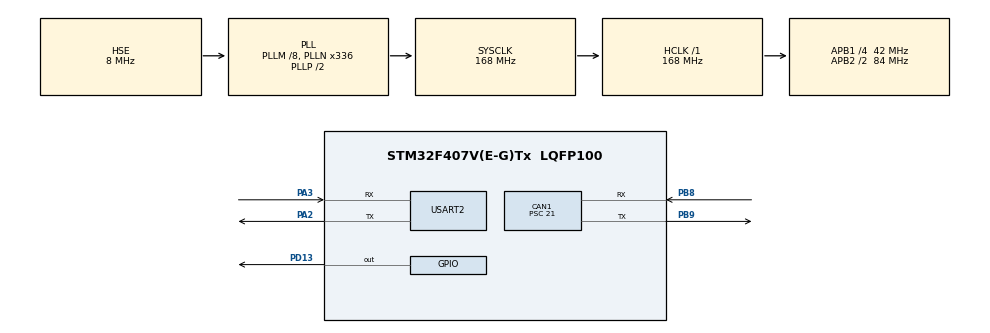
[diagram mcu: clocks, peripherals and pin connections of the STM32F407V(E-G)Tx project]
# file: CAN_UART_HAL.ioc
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CAN1.BS1=CAN_BS1_12TQ
CAN1.BS2=CAN_BS2_4TQ
CAN1.CalculateBaudRate=117647
CAN1.CalculateTimeBit=8500
CAN1.CalculateTimeQuantum=500.0
CAN1.Prescaler=21
Mcu.Family=STM32F4
Mcu.Name=STM32F407V(E-G)Tx
Mcu.Package=LQFP100
NVIC.CAN1_RX0_IRQn=true\:0\:2\:false\:false\:true\:true\:true
NVIC.PriorityGroup=NVIC_PRIORITYGROUP_0
NVIC.USART2_IRQn=true\:0\:0\:false\:false\:true\:true\:true
PA2.Mode=Asynchronous
PA2.Signal=USART2_TX
PA3.Mode=Asynchronous
PA3.Signal=USART2_RX
PB8.Mode=CAN_Activate
PB8.Signal=CAN1_RX
PB9.Mode=CAN_Activate
PB9.Signal=CAN1_TX
PD13.Signal=GPIO_Output
PH0-OSC_IN.Mode=HSE-External-Oscillator
PH0-OSC_IN.Signal=RCC_OSC_IN
PH1-OSC_OUT.Mode=HSE-External-Oscillator
PH1-OSC_OUT.Signal=RCC_OSC_OUT
ProjectManager.HeapSize=0x200
ProjectManager.StackSize=0x400
ProjectManager.TargetToolchain=MDK-ARM V5
RCC.48MHZClocksFreq_Value=48000000
RCC.AHBFreq_Value=168000000
RCC.APB1CLKDivider=RCC_HCLK_DIV4
RCC.APB1Freq_Value=42000000
RCC.APB1TimFreq_Value=84000000
RCC.APB2CLKDivider=RCC_HCLK_DIV2
RCC.APB2Freq_Value=84000000
RCC.APB2TimFreq_Value=168000000
RCC.CortexFreq_Value=168000000
RCC.HCLKFreq_Value=168000000
RCC.HSE_VALUE=8000000
RCC.HSI_VALUE=16000000
RCC.LSE_VALUE=32768
RCC.PLLM=8
RCC.PLLN=336
RCC.PLLQ=7
RCC.PLLSourceVirtual=RCC_PLLSOURCE_HSE
RCC.SYSCLKFreq_VALUE=168000000
RCC.SYSCLKSource=RCC_SYSCLKSOURCE_PLLCLK
RCC.VCOOutputFreq_Value=336000000
USART2.VirtualMode=VM_ASYNC
board=STM32F407G-DISC1

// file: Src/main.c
/* USER CODE BEGIN Header */
/**
  ******************************************************************************
  * @file           : main.c
  * @brief          : Main program body
  ******************************************************************************
  * @attention
  *
  * <h2><center>&copy; Copyright (c) 2021 STMicroelectronics.
  * All rights reserved.</center></h2>
  *
  * This software component is licensed by ST under BSD 3-Clause license,
  * the "License"; You may not use this file except in compliance with the
  * License. You may obtain a copy of the License at:
  *                        opensource.org/licenses/BSD-3-Clause
  *
  ******************************************************************************
  */
/* USER CODE END Header */
#include "main.h"

/* USER CODE BEGIN PD */
CAN_HandleTypeDef hcan1;
/* USER CODE END PD */

CAN_HandleTypeDef hcan1;

UART_HandleTypeDef huart2;

/* USER CODE BEGIN PV */
CAN_HandleTypeDef hcan1;
CAN_TxHeaderTypeDef TxHeader; //declare a specific header for message transmitions
CAN_RxHeaderTypeDef RxHeader; //declare header for message reception
uint32_t TxMailbox;

/*uint8_t TxData[5];
uint8_t RxData[5];*/

uint8_t TxData[5];
uint8_t RxData[5];

CAN_FilterTypeDef sFilterConfig; //declare CAN filter structure
/* USER CODE END PV */

void SystemClock_Config(void);
static void MX_GPIO_Init(void);
static void MX_CAN1_Init(void);
static void MX_USART2_UART_Init(void);

int main(void)
{

  /* MCU Configuration--------------------------------------------------------*/

  /* Reset of all peripherals, Initializes the Flash interface and the Systick. */
  HAL_Init();

  /* Configure the system clock */
  SystemClock_Config();

  /* Initialize all configured peripherals */
  MX_GPIO_Init();
  MX_CAN1_Init();
  MX_USART2_UART_Init();
  /* USER CODE BEGIN 2 */
	HAL_UART_Receive_IT (&huart2, RxData, 5);

	TxHeader.DLC=5; //give message size of 1 byte
	TxHeader.IDE=CAN_ID_STD; //set identifier to standard
	TxHeader.RTR=CAN_RTR_DATA; //set data type to remote transmission request?
	TxHeader.StdId=0x245; //define a standard identifier, used for message identification by filters (switch this for the other microcontroller)

	//filter one (stack light blink)
	sFilterConfig.FilterFIFOAssignment=CAN_FILTER_FIFO0; //set fifo assignment
	sFilterConfig.FilterIdHigh=0x244<<5; //the ID that the filter looks for (switch this for the other microcontroller)
	sFilterConfig.FilterIdLow=0;
	sFilterConfig.FilterMaskIdHigh=0;
	sFilterConfig.FilterMaskIdLow=0;
	sFilterConfig.FilterScale=CAN_FILTERSCALE_32BIT; //set filter scale
	sFilterConfig.FilterActivation=ENABLE;

	HAL_CAN_ConfigFilter(&hcan1, &sFilterConfig); //configure CAN filter

	HAL_CAN_Start(&hcan1); //start CAN
	HAL_CAN_ActivateNotification(&hcan1, CAN_IT_RX_FIFO0_MSG_PENDING); //enable interrupts
  /* USER CODE END 2 */

  /* Infinite loop */
  while (1)
  {

  }
}

void SystemClock_Config(void)
{
  RCC_OscInitTypeDef RCC_OscInitStruct = {0};
  RCC_ClkInitTypeDef RCC_ClkInitStruct = {0};

  /** Configure the main internal regulator output voltage
  */
  __HAL_RCC_PWR_CLK_ENABLE();
  __HAL_PWR_VOLTAGESCALING_CONFIG(PWR_REGULATOR_VOLTAGE_SCALE1);
  /** Initializes the RCC Oscillators according to the specified parameters
  * in the RCC_OscInitTypeDef structure.
  */
  RCC_OscInitStruct.OscillatorType = RCC_OSCILLATORTYPE_HSE;
  RCC_OscInitStruct.HSEState = RCC_HSE_ON;
  RCC_OscInitStruct.PLL.PLLState = RCC_PLL_ON;
  RCC_OscInitStruct.PLL.PLLSource = RCC_PLLSOURCE_HSE;
  RCC_OscInitStruct.PLL.PLLM = 8;
  RCC_OscInitStruct.PLL.PLLN = 336;
  RCC_OscInitStruct.PLL.PLLP = RCC_PLLP_DIV2;
  RCC_OscInitStruct.PLL.PLLQ = 7;
  if (HAL_RCC_OscConfig(&RCC_OscInitStruct) != HAL_OK)
  {
    Error_Handler();
  }
  /** Initializes the CPU, AHB and APB buses clocks
  */
  RCC_ClkInitStruct.ClockType = RCC_CLOCKTYPE_HCLK|RCC_CLOCKTYPE_SYSCLK
                              |RCC_CLOCKTYPE_PCLK1|RCC_CLOCKTYPE_PCLK2;
  RCC_ClkInitStruct.SYSCLKSource = RCC_SYSCLKSOURCE_PLLCLK;
  RCC_ClkInitStruct.AHBCLKDivider = RCC_SYSCLK_DIV1;
  RCC_ClkInitStruct.APB1CLKDivider = RCC_HCLK_DIV4;
  RCC_ClkInitStruct.APB2CLKDivider = RCC_HCLK_DIV2;

  if (HAL_RCC_ClockConfig(&RCC_ClkInitStruct, FLASH_LATENCY_5) != HAL_OK)
  {
    Error_Handler();
  }
}

static void MX_CAN1_Init(void)
{

  hcan1.Instance = CAN1;
  hcan1.Init.Prescaler = 21;
  hcan1.Init.Mode = CAN_MODE_NORMAL;
  hcan1.Init.SyncJumpWidth = CAN_SJW_1TQ;
  hcan1.Init.TimeSeg1 = CAN_BS1_12TQ;
  hcan1.Init.TimeSeg2 = CAN_BS2_4TQ;
  hcan1.Init.TimeTriggeredMode = DISABLE;
  hcan1.Init.AutoBusOff = DISABLE;
  hcan1.Init.AutoWakeUp = DISABLE;
  hcan1.Init.AutoRetransmission = DISABLE;
  hcan1.Init.ReceiveFifoLocked = DISABLE;
  hcan1.Init.TransmitFifoPriority = DISABLE;
  if (HAL_CAN_Init(&hcan1) != HAL_OK)
  {
    Error_Handler();
  }

}

static void MX_USART2_UART_Init(void)
{

  huart2.Instance = USART2;
  huart2.Init.BaudRate = 115200;
  huart2.Init.WordLength = UART_WORDLENGTH_8B;
  huart2.Init.StopBits = UART_STOPBITS_1;
  huart2.Init.Parity = UART_PARITY_NONE;
  huart2.Init.Mode = UART_MODE_TX_RX;
  huart2.Init.HwFlowCtl = UART_HWCONTROL_NONE;
  huart2.Init.OverSampling = UART_OVERSAMPLING_16;
  if (HAL_UART_Init(&huart2) != HAL_OK)
  {
    Error_Handler();
  }

}

static void MX_GPIO_Init(void)
{
  GPIO_InitTypeDef GPIO_InitStruct = {0};

  /* GPIO Ports Clock Enable */
  __HAL_RCC_GPIOH_CLK_ENABLE();
  __HAL_RCC_GPIOA_CLK_ENABLE();
  __HAL_RCC_GPIOD_CLK_ENABLE();
  __HAL_RCC_GPIOB_CLK_ENABLE();

  /*Configure GPIO pin Output Level */
  HAL_GPIO_WritePin(GPIOD, GPIO_PIN_13, GPIO_PIN_RESET);

  /*Configure GPIO pin : PD13 */
  GPIO_InitStruct.Pin = GPIO_PIN_13;
  GPIO_InitStruct.Mode = GPIO_MODE_OUTPUT_PP;
  GPIO_InitStruct.Pull = GPIO_NOPULL;
  GPIO_InitStruct.Speed = GPIO_SPEED_FREQ_LOW;
  HAL_GPIO_Init(GPIOD, &GPIO_InitStruct);

}

/* USER CODE BEGIN 4 */
void HAL_UART_RxCpltCallback(UART_HandleTypeDef *huart)
{
	HAL_UART_Receive_IT(&huart2, RxData, 5);
for(int i=0;i<5;i++){
	TxData[i]=RxData[i];
}
	//HAL_UART_Transmit(&huart2, TxData, sizeof(TxData), 10);
		HAL_CAN_AddTxMessage(&hcan1, &TxHeader, TxData, &TxMailbox);  //function to add message for transmition

}

void HAL_CAN_RxFifo0MsgPendingCallback(CAN_HandleTypeDef *hcan)
{
  if (HAL_CAN_GetRxMessage(&hcan1, CAN_RX_FIFO0, &RxHeader, RxData) != HAL_OK)
  {
    Error_Handler();
  }
	HAL_UART_Transmit(&huart2, RxData, sizeof(RxData), 100);
}
/* USER CODE END 4 */

void Error_Handler(void)
{
  __disable_irq();
  while (1)
  {
  }
}

/************************ (C) COPYRIGHT STMicroelectronics *****END OF FILE****/
